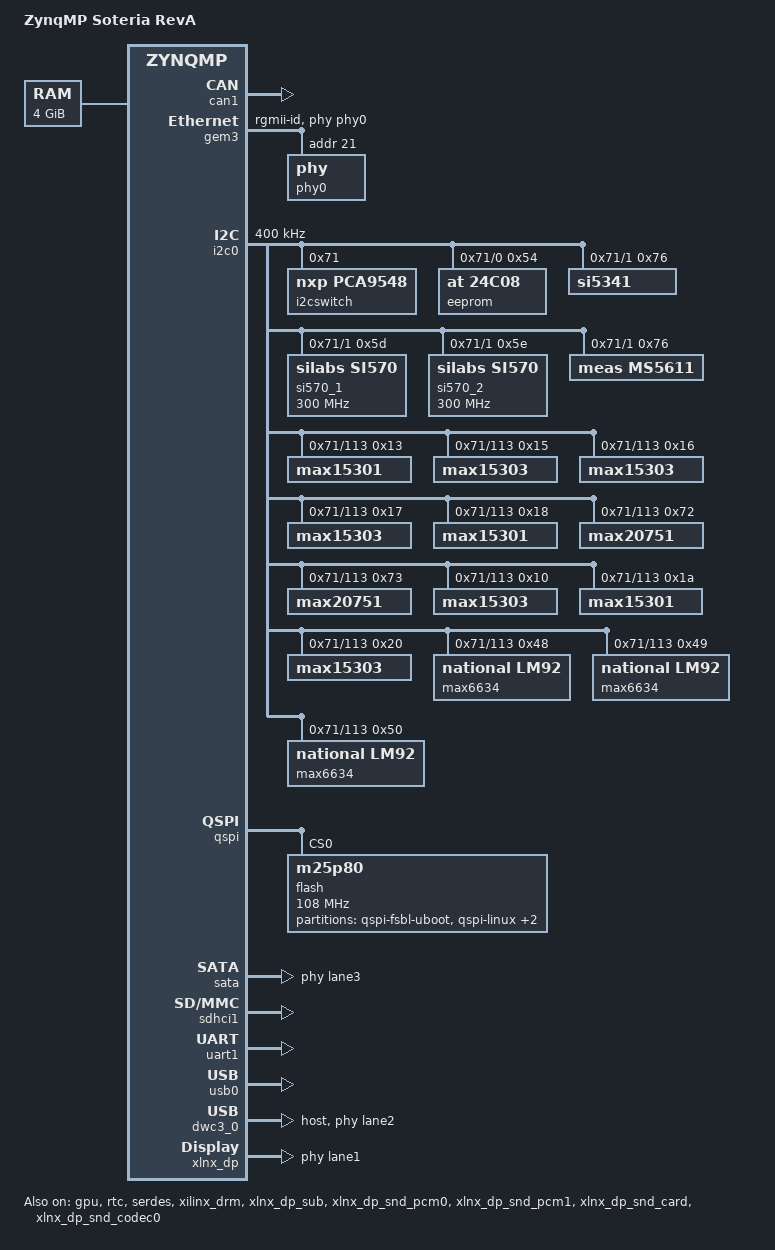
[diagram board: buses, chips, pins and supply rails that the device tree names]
/*
 * dts file for Xilinx ZynqMP ZCU102
 *
 * (C) Copyright 2015, Xilinx, Inc.
 *
 * Michal Simek <michal.simek@xilinx.com>
 *
 * This program is free software; you can redistribute it and/or
 * modify it under the terms of the GNU General Public License as
 * published by the Free Software Foundation; either version 2 of
 * the License, or (at your option) any later version.
 */

/dts-v1/;

#include "zynqmp.dtsi"
#include "zynqmp-clk.dtsi"
#include <dt-bindings/gpio/gpio.h>
#include <dt-bindings/phy/phy.h>

/ {
	model = "ZynqMP Soteria RevA";
	compatible = "xlnx,zynqmp-soteria", "xlnx,zynqmp";

	aliases {
		ethernet0 = &gem3;
		gpio0 = &gpio;
		i2c0 = &i2c0;
		mmc0 = &sdhci1;
		rtc0 = &rtc;
		/*serial0 = &uart0;*/
		serial1 = &uart1;
		spi0 = &qspi;
		usb0 = &usb0;
	};

	chosen {
		bootargs = "earlycon";
		stdout-path = "serial1:115200n8";
	};

	memory {
		device_type = "memory";
		reg = <0x0 0x0 0x0 0x80000000>, <0x8 0x00000000 0x0 0x80000000>;
	};
};

&can1 {
	status = "okay";
};

/* fpd_dma clk 667MHz, lpd_dma 500MHz */
&fpd_dma_chan1 {
	status = "okay";
	xlnx,include-sg; /* for testing purpose */
	xlnx,overfetch; /* for testing purpose */
	xlnx,ratectrl = <0>; /* for testing purpose */
	xlnx,src-issue = <31>;
};

&fpd_dma_chan2 {
	status = "okay";
	xlnx,ratectrl = <100>; /* for testing purpose */
	xlnx,src-issue = <4>; /* for testing purpose */
};

&fpd_dma_chan3 {
	status = "okay";
};

&fpd_dma_chan4 {
	status = "okay";
	xlnx,include-sg; /* for testing purpose */
};

&fpd_dma_chan5 {
	status = "okay";
};

&fpd_dma_chan6 {
	status = "okay";
	xlnx,include-sg; /* for testing purpose */
};

&fpd_dma_chan7 {
	status = "okay";
};

&fpd_dma_chan8 {
	status = "okay";
	xlnx,include-sg; /* for testing purpose */
};

&gem3 {
	status = "okay";
	local-mac-address = [00 0a 35 00 02 90];
	phy-handle = <&phy0>;
	phy-mode = "rgmii-id";
	phy0: phy@21 {
		reg = <21>;
		ti,rx-internal-delay = <0x8>;
		ti,tx-internal-delay = <0xa>;
		ti,fifo-depth = <0x1>;
	};
};

&gpio {
	status = "okay";
};

&gpu {
	status = "okay";
};

&i2c0 {
	status = "okay";
	clock-frequency = <400000>;

  i2cswitch@74 { /* u78 */
    compatible = "nxp, pca9548";
    #address-cells = <1>;
    #size-cells = <0>;
    reg = <0x71>;
    
    i2c@0{            //IIC_EEPROM
      #address-cells = <1>;
      #size-cells = <0>;
      reg = <0>;
      eeprom@54{
        compatible = "at, 24c08";
        reg = <0x54>;
      };
    };
    i2c@1 { /* i2c mw 74 0 2 */
			#address-cells = <1>;
			#size-cells = <0>;
			reg = <1>;
			si5341: clock-generator1@36 { /* SI5341 - u55 */
				compatible = "si5341";
				reg = <0x76>;
		};
    i2c@2 { /* i2c mw 74 0 4 */
			#address-cells = <1>;
			#size-cells = <0>;
			reg = <2>;
			si570_1: clock-generator2@5d { /* USER SI570 - u56 */
				#clock-cells = <0>;
				compatible = "silabs,si570";
				reg = <0x5d>;
				temperature-stability = <50>;
				factory-fout = <300000000>;
				clock-frequency = <300000000>;
			};
      si570_2: clock-generator2@5e { /* USER SI570 - u57 */
				#clock-cells = <0>;
				compatible = "silabs,si570";
				reg = <0x5e>;
				temperature-stability = <50>;
				factory-fout = <300000000>;
				clock-frequency = <300000000>;
			};
		};
    i2c@3 {         //fmc i2c
      #address-cells = <1>;
      #size-cells = <0>;
      reg = <3>;
    };
    i2c@4 {       //sysmon
      #address-cells = <1>;
      #size-cells = <0>;
      reg = <4>;
    };
    i2c@5 {         //MS5611
      #address-cells = <1>;
      #size-cells = <0>;
      reg = <5>;
      ms5611@76 {
	compatible = "meas,ms5611";
	reg = <0x76>;
	};
    };
  };
  
  i2cswitch@71 {	/* u112 */
    compatible = "nxp,pca9543";
    #address-cells = <1>;
    #size-cells = <0>;
    reg = <0x71>;
    
    i2c@0{           // MAXIM PMBUS
      #address-cells = <1>;
      #size-cells = <0>;
      reg = <0>;
      max15301@13{ //u10
        compatible = "max15301";
        reg = <0x13>;
      };
      max15303@15{ //u8
        compatible = "max15303";
        reg = <0x15>;
      };
      max15303@16{ //u31
        compatible = "max15303";
        reg = <0x16>;
      };
      max15303@17{ //u7
        compatible = "max15303";
        reg = <0x17>;
      };
      max15301@18{ //u5
        compatible = "max15301";
        reg = <0x18>;
      };
      max20751@72{ //u14
        compatible = "max20751";
        reg = <0x72>;
      };
      max20751@73{ //u29
        compatible = "max20751";
        reg = <0x73>;
      };
      max15303@10{ //u39
        compatible = "max15303";
        reg = <0x10>;
      };
      max15301@1A{ //u3
        compatible = "max15301";
        reg = <0x1A>;
      };
      max15303@20{ //u4
        compatible = "max15303";
        reg = <0x20>;
      };
    };
    
    i2c@1{        //TEMP PMBUS
      #address-cells = <1>;
      #size-cells = <0>;
      reg = <2>;
      max6634@48{  //u114
        compatible = "national,lm92";
        reg = <0x48>;
      };
      max6634@49{  //u115
        compatible = "national,lm92";
        reg = <0x49>;
      };
      max6634@50{  //u116
        compatible = "national,lm92";
        reg = <0x50>;
      };
    };
  };
};
};

&qspi {
	status = "okay";
	is-dual = <1>;
	flash@0 {
		compatible = "m25p80"; /* 32MB */
		#address-cells = <1>;
		#size-cells = <1>;
		reg = <0x0>;
		spi-tx-bus-width = <1>;
		spi-rx-bus-width = <4>; /* FIXME also DUAL configuration possible */
		spi-max-frequency = <108000000>; /* Based on DC1 spec */
		partition@qspi-fsbl-uboot { /* for testing purpose */
			label = "qspi-fsbl-uboot";
			reg = <0x0 0x100000>;
		};
		partition@qspi-linux { /* for testing purpose */
			label = "qspi-linux";
			reg = <0x100000 0x500000>;
		};
		partition@qspi-device-tree { /* for testing purpose */
			label = "qspi-device-tree";
			reg = <0x600000 0x20000>;
		};
		partition@qspi-rootfs { /* for testing purpose */
			label = "qspi-rootfs";
			reg = <0x620000 0x5E0000>;
		};
	};
};

&rtc {
	status = "okay";
};

&sata {
	status = "okay";
	/* SATA OOB timing settings */
	ceva,p0-cominit-params = /bits/ 8 <0x18 0x40 0x18 0x28>;
	ceva,p0-comwake-params = /bits/ 8 <0x06 0x14 0x08 0x0E>;
	ceva,p0-burst-params = /bits/ 8 <0x13 0x08 0x4A 0x06>;
	ceva,p0-retry-params = /bits/ 16 <0x96A4 0x3FFC>;
	ceva,p1-cominit-params = /bits/ 8 <0x18 0x40 0x18 0x28>;
	ceva,p1-comwake-params = /bits/ 8 <0x06 0x14 0x08 0x0E>;
	ceva,p1-burst-params = /bits/ 8 <0x13 0x08 0x4A 0x06>;
	ceva,p1-retry-params = /bits/ 16 <0x96A4 0x3FFC>;
	phy-names = "sata-phy";
	phys = <&lane3 PHY_TYPE_SATA 1 1 125000000>;
};

/* SD1 with level shifter */
&sdhci1 {
	status = "okay";
	no-1-8-v;	/* for 1.0 silicon */
};

&serdes {
	status = "okay";
};

/*&uart0 {            NOT USED IN FIRST BOARD REV
	status = "okay";
};*/

&uart1 {
	status = "okay";
};

/* ULPI SMSC USB3320 */
&usb0 {
	status = "okay";
};

&dwc3_0 {
	status = "okay";
	dr_mode = "host";
	phy-names = "usb3-phy";
	phys = <&lane2 PHY_TYPE_USB3 0 2 26000000>;
};

&xilinx_drm {
	status = "okay";
	clocks = <&si570_1>;
};

&xlnx_dp {
	status = "okay";
	phy-names = "dp-phy0", "dp-phy1";
	phys = <&lane1 PHY_TYPE_DP 0 3 27000000>, <&lane0 PHY_TYPE_DP 1 3 27000000>;
};

&xlnx_dp_sub {
	status = "okay";
	xlnx,vid-clk-pl;
};

&xlnx_dp_snd_pcm0 {
	status = "okay";
};

&xlnx_dp_snd_pcm1 {
	status = "okay";
};

&xlnx_dp_snd_card {
	status = "okay";
};

&xlnx_dp_snd_codec0 {
	status = "okay";
};

&xlnx_dpdma {
	status = "okay";
};
